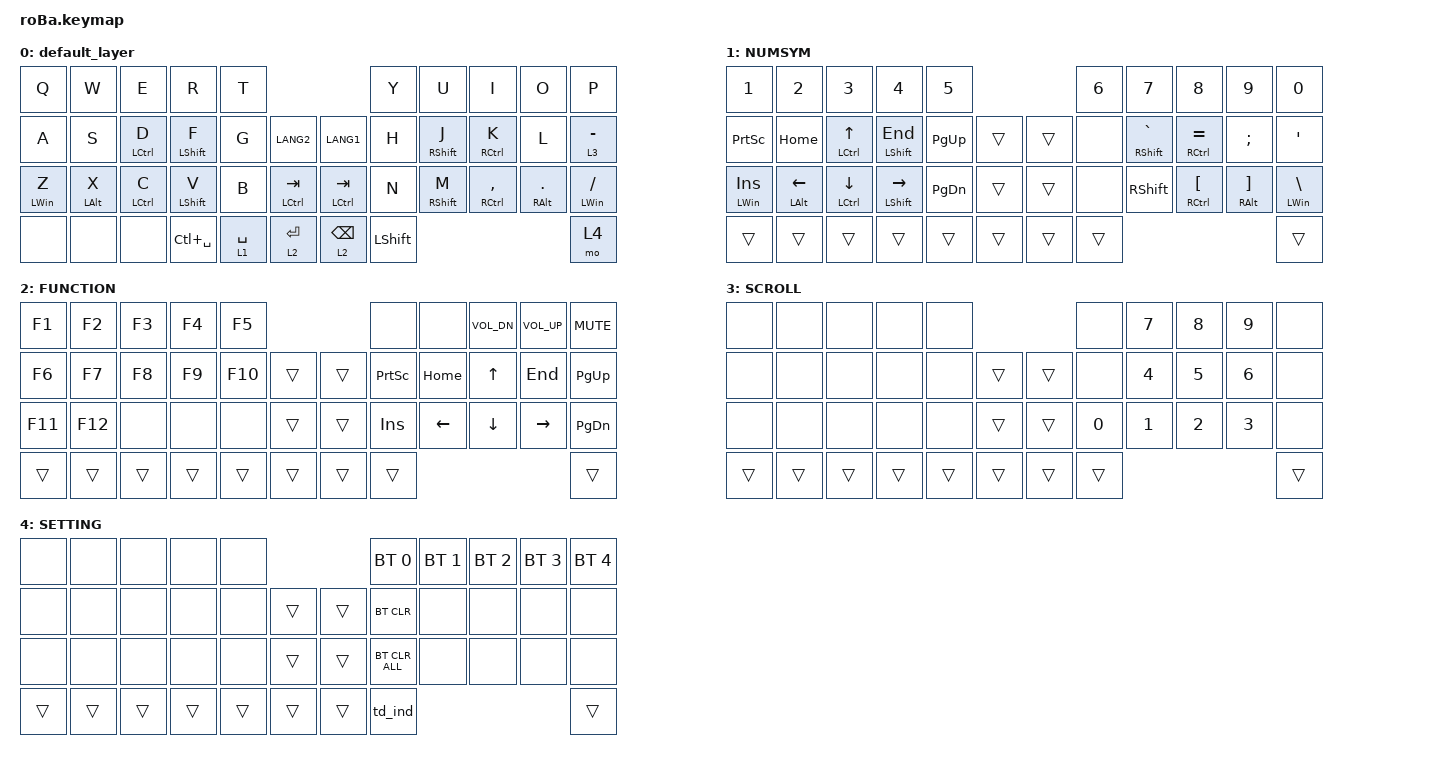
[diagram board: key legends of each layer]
#include <behaviors.dtsi>
#include <dt-bindings/zmk/bt.h>
#include <dt-bindings/zmk/keys.h>
#include <dt-bindings/zmk/pointing.h>
#include <behaviors/rgbled_widget.dtsi>

&mt {
    flavor = "balanced";
    quick-tap-ms = <200>;
};

&trackball {
    // automouse-layer = <4>;
    scroll-layers = <3>;

    // arrows {
    //     layers = <3>;
    //     bindings =
    //         <&kp RIGHT_ARROW>,
    //         <&kp LEFT_ARROW>,
    //         <&kp UP_ARROW>,
    //         <&kp DOWN_ARROW>;

    //     tick = <10>;
    //     wait-ms = <5>;
    //     tap-ms = <5>;
    // };
};

/ {
    combos {
        compatible = "zmk,combos";

        esc_l {
            bindings = <&kp ESCAPE>;
            key-positions = <0 1>; /* Q + W */
        };

        tab {
            bindings = <&kp TAB>;
            key-positions = <1 2>; /* W + Q */
        };

        esc_r {
            bindings = <&kp ESCAPE>;
            key-positions = <5 6>; /* Y + U */
        };

        bspc {
            bindings = <&kp BSPC>;
            key-positions = <6 7>; /* U + I */
        };

        del {
            bindings = <&kp DEL>;
            key-positions = <7 8>; /* I + O */
        };

        enter {
            bindings = <&kp ENTER>;
            key-positions = <8 9>; /* O + P */
        };


        mb1 {
            bindings = <&mkp MB1>;
            key-positions = <18 19>; /* J + K */
        };

        mb2 {
            bindings = <&mkp MB2>;
            key-positions = <19 20>; /* K + L */
        };

        mb3 {
            bindings = <&mkp MB3>;
            key-positions = <18 20>; /* J + L */
        };

        mb4 {
            bindings = <&mkp MB4>;
            key-positions = <17 18>; /* H + J */
        };

        mb5 {
            bindings = <&mkp MB5>;
            key-positions = <20 21>; /* L + - */
        };

        mb6 {
            bindings = <&kp LC(W)>;
            key-positions = <17 20>; /* H + L */
        };
        
        lang {
            bindings = <&kp LC(SPACE)>;
            key-positions = <18 21>; /* J + - */
        };
    };

    behaviors {
        td_ind: tap_dance_indicator {
            compatible = "zmk,behavior-tap-dance";
            #binding-cells = <0>;
            tapping-term-ms = <200>;
            bindings = <&ind_bat>, <&ind_con>;
        };
    };

    macros {
        to_layer_0: to_layer_0 {
            compatible = "zmk,behavior-macro-one-param";
            #binding-cells = <1>;
            bindings = <&to 0 &macro_param_1to1 &kp MACRO_PLACEHOLDER>;
            label = "TO_LAYER_0";
        };
    };

    behaviors {
        lt_to_layer_0: lt_to_layer_0 {
            compatible = "zmk,behavior-hold-tap";
            label = "LAYER_TAP_TO_0";
            bindings = <&mo>, <&to_layer_0>;

            #binding-cells = <2>;
            tapping-term-ms = <200>;
        };
    };

    keymap {
        compatible = "zmk,keymap";

        default_layer {    // Layer 0
            bindings = <
&kp Q       &kp W       &kp E        &kp R         &kp T                                        &kp Y      &kp U        &kp I            &kp O         &kp P
&kp A       &kp S       &mt LCTRL D  &mt LSHFT F   &kp G        &kp LANG2        &kp LANG1      &kp H      &mt RSHFT J  &mt RCTRL K      &kp  L        &lt 3 MINUS
&mt LWIN Z  &mt LALT X  &mt LCTRL C  &mt LSHFT V   &kp B        &mt LCTRL TAB    &mt LCTRL TAB  &kp N      &mt RSHFT M  &mt RCTRL COMMA  &mt RALT DOT  &mt LWIN SLASH
&none       &none       &none        &kp LC(SPACE) &lt 1 SPACE  &lt 2 ENTER      &lt 2 BSPC     &kp LSHFT                                              &mo 4
            >;
        };

        NUMSYM {    // Layer 1
            bindings = <
            
&kp N1          &kp N2         &kp N3          &kp N4           &kp N5                       &kp N6  &kp N7           &kp N8           &kp N9         &kp N0
&kp PSCRN       &kp HOME       &mt LCTRL UP    &mt LSHFT END    &kp PG_UP  &trans    &trans  &none   &mt RSHFT GRAVE  &mt RCTRL EQUAL  &kp SEMI       &kp SQT
&mt LWIN INS    &mt LALT LEFT  &mt LCTRL DOWN  &mt LSHFT RIGHT  &kp PG_DN  &trans    &trans  &none   &kp RSHFT        &mt RCTRL LBKT   &mt RALT RBKT  &mt LWIN BSLH
&trans          &trans         &trans          &trans           &trans     &trans    &trans  &trans                                                   &trans
            >;
        };

        FUNCTION {    // Layer 2
            bindings = <
&kp F1   &kp F2   &kp F3   &kp F4   &kp F5                     &none      &none    &kp C_VOL_DN &kp C_VOL_UP &kp C_MUTE
&kp F6   &kp F7   &kp F8   &kp F9   &kp F10  &trans    &trans  &kp PSCRN  &kp HOME &kp UP       &kp END      &kp PG_UP  
&kp F11  &kp F12  &none    &none    &none    &trans    &trans  &kp INS    &kp LEFT &kp DOWN     &kp RIGHT    &kp PG_DN
&trans   &trans   &trans   &trans   &trans   &trans    &trans  &trans                                        &trans
            >;
        };

        SCROLL {    // Layer 3
            bindings = <
&none   &none   &none   &none   &none                     &none   &kp N7  &kp N8  &kp N9  &none
&none   &none   &none   &none   &none   &trans    &trans  &none   &kp N4  &kp N5  &kp N6  &none
&none   &none   &none   &none   &none   &trans    &trans  &kp N0  &kp N1  &kp N2  &kp N3  &none
&trans  &trans  &trans  &trans  &trans  &trans    &trans  &trans                          &trans
            >;
        };

        SETTING {    // Layer 4
            bindings = <
&none   &none   &none   &none   &none                     &bt BT_SEL 0    &bt BT_SEL 1  &bt BT_SEL 2  &bt BT_SEL 3  &bt BT_SEL 4
&none   &none   &none   &none   &none   &trans    &trans  &bt BT_CLR      &none         &none         &none         &none
&none   &none   &none   &none   &none   &trans    &trans  &bt BT_CLR_ALL  &none         &none         &none         &none
&trans  &trans  &trans  &trans  &trans  &trans    &trans  &td_ind                                                   &trans
            >;
        };

    };
};
